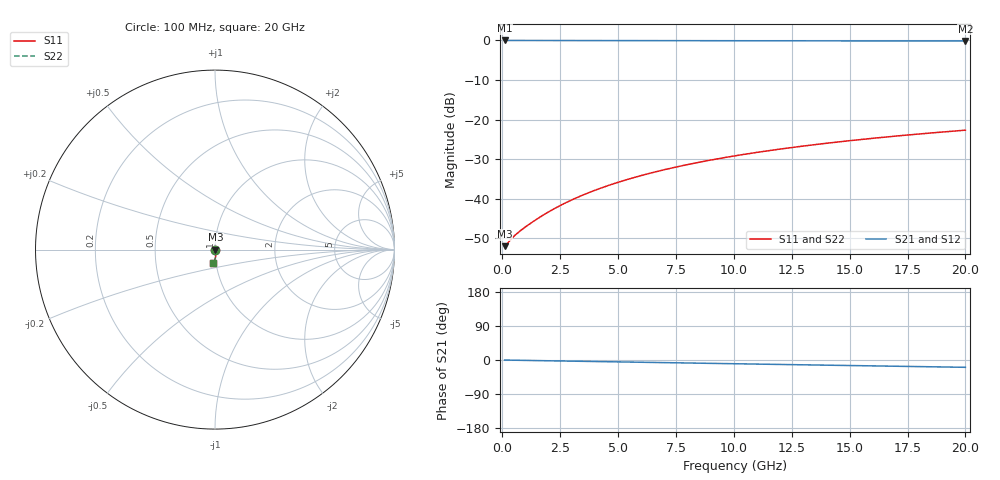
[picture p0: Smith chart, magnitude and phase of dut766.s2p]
! Touchstone file exported from HFSS 2026.1.0
!  File:  C:/ffzhzh/LocalFiles/Ansys_Project_Files/temp_train_TMRDL_766_1783155531_18472.aedt
!  Generated:  04:59:56 PM Jul  4, 2026
!  Design:  TMRDL
!  Project:  temp_train_TMRDL_766_1783155531_18472
! Variables:
!  h_bsmrdl = 2um
!  h_ox = 20um
!  h_rdl = 5um
!  h_sub = 80um
!  h_tmrdl = 4.66um
!  h_tsv = 80um
!  h_via = 3um
!  l_bsmrdl = 300um
!  l_sub = 739.94um
!  l_tmrdl = 339.94um
!  m_sub = 200um
!  pitch = 13.06um
!  r_tsv = 6um
!  s_tmrdl = 10um
!  w_bsmrdl = 18um
!  w_sub = 500um
!  w_tmrdl = 10.86um
!  x_tsv_center1 = 345.37um
!  x_tsv_center2 = 663.37um
!  x_tsv_center3 = 1014.17um
!  x_tsv_center4 = 1332.17um
!  x_tsv_center5 = 1682.97um
!  x_tsv_center6 = 2000.97um
# GHz S MA R 50.000000
! Terminal data exported
! Port[1] = TM_RDL1_1_T1
! Port[2] = TM_RDL1_1_T2
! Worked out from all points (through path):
!   200 points, 100 MHz to 20 GHz, reference 50 ohm
!   highest |S21| = -0.02 dB at 100 MHz (marker M1); lowest = -0.2 dB at 20 GHz (marker M2)
!   group delay of S21, straight-line fit = 2.66 ps
!   lowest |S11| = -52.0 dB at 100 MHz (marker M3), VSWR 1.01, Z = 50.3 + j0.00401 ohm
!   |S11| at or under -10 dB: start of sweep to end of sweep
!   |S22| runs from -52.0 to -22.7 dB; largest |S21 - S12| = 3e-15
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0.1  0.002508 0.9  0.9975 -0.1  0.9975 -0.1  0.002508 0.9
! Gamma 0 0 0 0
! Port Impedance 50 0 50 0
0.2  0.002677 0.2  0.9973 -0.2  0.9973 -0.2  0.002677 0.2
0.5  0.00334 -10.0  0.9967 -0.6  0.9967 -0.6  0.00334 -10.0
0.7  0.003761 -18.4  0.9964 -0.8  0.9964 -0.8  0.00376 -18.4
1.1  0.004608 -32.4  0.9961 -1.2  0.9961 -1.2  0.004607 -32.4
1.5  0.005532 -42.4  0.9958 -1.6  0.9958 -1.6  0.005532 -42.4
2  0.006804 -51.0  0.9955 -2.1  0.9955 -2.1  0.006802 -51.0
2.5  0.008178 -56.9  0.9952 -2.6  0.9952 -2.6  0.008176 -56.9
3  0.009635 -61.1  0.9949 -3.1  0.9949 -3.1  0.009633 -61.1
3.5  0.01116 -64.3  0.9945 -3.6  0.9945 -3.6  0.01116 -64.3
4.2  0.0134 -67.6  0.9939 -4.3  0.9939 -4.3  0.0134 -67.7
5  0.01608 -70.6  0.9932 -5.0  0.9932 -5.0  0.01608 -70.6
5.9  0.01922 -73.3  0.9924 -5.9  0.9924 -5.9  0.01922 -73.3
6.8  0.02247 -75.6  0.9916 -6.8  0.9916 -6.8  0.02247 -75.6
7.6  0.02543 -77.4  0.9909 -7.6  0.9909 -7.6  0.02542 -77.5
8.4  0.02844 -79.1  0.9902 -8.3  0.9902 -8.3  0.02843 -79.1
10.1  0.03494 -82.4  0.9888 -10.0  0.9888 -10.0  0.03492 -82.4
11.7  0.04114 -85.1  0.9876 -11.5  0.9876 -11.5  0.04112 -85.2
13.4  0.04775 -87.9  0.9863 -13.1  0.9863 -13.1  0.04773 -87.9
15  0.05399 -90.2  0.9851 -14.6  0.9851 -14.6  0.05395 -90.3
16.7  0.06059 -92.6  0.9838 -16.2  0.9838 -16.2  0.06055 -92.7
20  0.07331 -97.0  0.9814 -19.3  0.9814 -19.3  0.07326 -97.1
